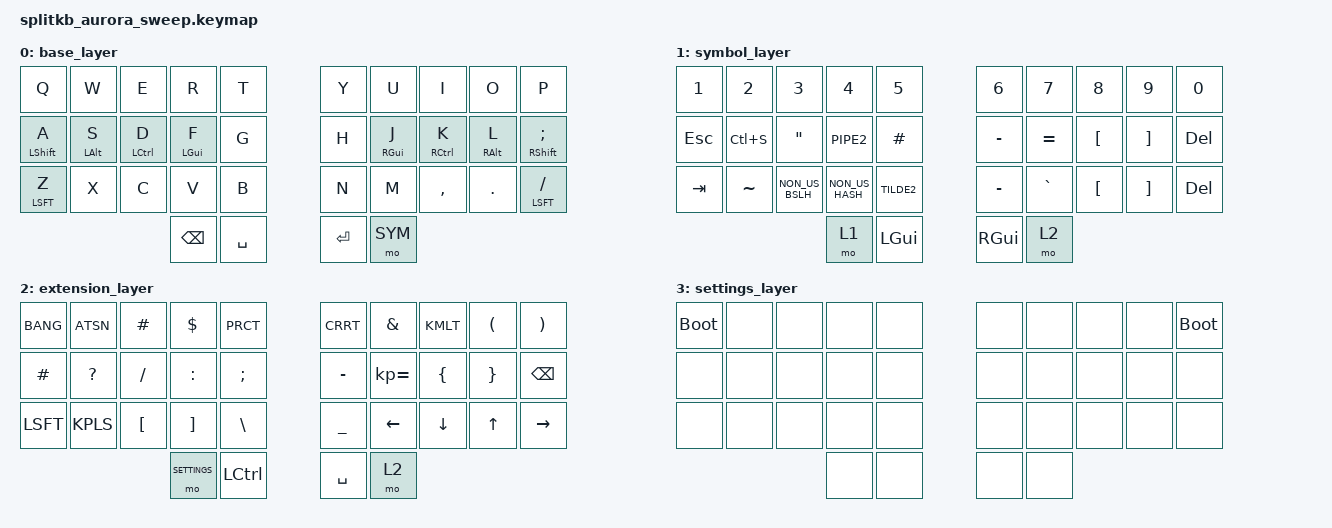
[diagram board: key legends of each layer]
/*
 * Copyright (c) 2022 The ZMK Contributors
 *
 * SPDX-License-Identifier: MIT
 */

#include <behaviors.dtsi>
#include <dt-bindings/zmk/keys.h>
#include <dt-bindings/zmk/bt.h>

// Layer definitions
#define BASE 0
#define SYM 1
#define EXT 2
#define SETTINGS 3

/ {
    combos {
        compatible = "zmk,combos";
    };
    behaviors {
        hm: homerow_mods {
            compatible = "zmk,behavior-hold-tap";
            label = "HOMEROW_MODS";
            #binding-cells = <2>;
            tapping-term-ms = <200>;
            quick-tap-ms = <200>; // https://zmk.dev/docs/behaviors/hold-tap#quick-tap-ms
            flavor = "tap-preferred";
            bindings = <&kp>, <&kp>;
        };
    };

    keymap {
    	compatible = "zmk,keymap";

    	base_layer {
        bindings = <
        &kp Q &kp W &kp E &kp R &kp T                       		&kp Y &kp U  &kp I    &kp O   &kp P
        &hm LSHIFT A &hm LALT S &hm LCTRL D &hm LGUI F &kp G		&kp H &hm RGUI J &hm RCTRL K &hm RALT L &hm RSHIFT SEMICOLON
        &mt LSFT Z &kp X &kp C &kp V &kp B                  		&kp N &kp M  &kp CMMA &kp DOT &mt LSFT SLASH
               &kp BACKSPACE &kp SPACE                 			&kp ENTER &mo SYM
        >;
        };

	// Numbers and frequently used symbols
        symbol_layer {
        bindings = <
        &kp NUM_1  &kp NUM_2    &kp NUM_3    &kp NUM_4    &kp NUM_5     &kp NUM_6 &kp NUM_7 &kp NUM_8 &kp NUM_9 &kp NUM_0
        &kp ESC  &kp LC(S)    &kp DQT      &kp PIPE2     &kp HASH         &kp MINUS &kp EQL  &kp LBKT &kp RBKT  &kp DEL
        &kp TAB  &kp TILDE    &kp NON_US_BSLH &kp NON_US_HASH  &kp TILDE2     &kp MINUS &kp GRAVE &kp LBKT &kp RBKT  &kp DEL
                        &mo 1  &kp LGUI                     &kp RGUI &mo 2
        >;
        };

	// Main modifiers and navigation keys
        extension_layer {
        bindings = <
        &kp BANG  &kp ATSN &kp HASH  &kp DLLR  &kp PRCT             &kp CRRT  &kp AMPS &kp KMLT &kp LPRN &kp RPRN
        &kp HASH  &kp QMARK  &kp FSLH  &kp COLN  &kp SCLN           &kp MINUS &kp KP_EQUAL  &kp LBRC  &kp RBRC   &kp BKSP
        &kp LSFT  &kp KPLS &kp LBKT &kp RBKT   &kp BSLH             &kp UNDER &kp LEFT &kp DOWN &kp UP  &kp RIGHT
                      &mo SETTINGS &kp LCTL                &kp SPC  &mo 2
        >;
        };

        settings_layer {
        bindings = <
        &bootloader &none &none &none &none             &none &none &none &none &bootloader
	&none &none &none &none &none                   &none &none &none &none &none
	&none &none &none &none &none                   &none &none &none &none &none
			  &none &none			&none &none
        >;
        };

    };
};
